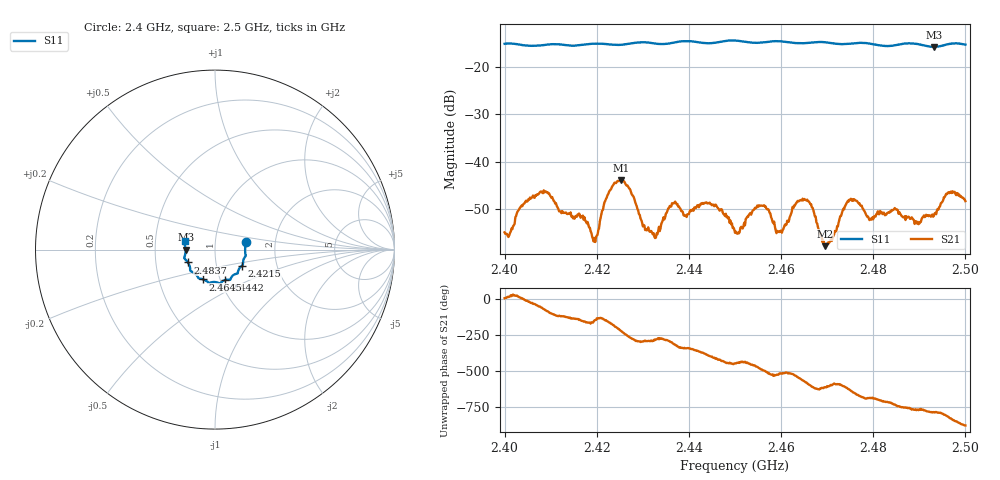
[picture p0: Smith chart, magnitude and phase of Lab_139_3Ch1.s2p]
# Hz S RI R 50
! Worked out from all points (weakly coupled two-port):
!   601 points, 2.4 GHz to 2.5 GHz, reference 50 ohm
!   highest |S21| = -43.92 dB at 2.4253 GHz (marker M1); lowest = -57.9 dB at 2.4695 GHz (marker M2)
!   lowest |S11| = -15.7 dB at 2.4932 GHz (marker M3), VSWR 1.39, Z = 35.9 - j0.0582 ohm
!   |S11| at or under -10 dB: start of sweep to end of sweep
!   S12 and S22 are empty: the file has one direction only
!   S11 on the Smith chart (normalised r, x): 2.4 GHz: 1.41, +0.12; 2.4215 GHz: 1.33, -0.25; 2.4442 GHz: 1.05, -0.37; 2.4645 GHz: 0.83, -0.29; 2.4837 GHz: 0.73, -0.11; 2.5 GHz: 0.71, +0.07
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2.4e9  0.1714 0.0402  0.00178 0.000168  0 0  0 0
2.408e9  0.1685 -0.0204  0.0024 -0.00418  0 0  0 0
2.416667e9  0.1567 -0.0698  -0.00234 -0.00125  0 0  0 0
2.419667e9  0.1548 -0.0858  -0.00118 -0.000767  0 0  0 0
2.4215e9  0.1512 -0.0898  -0.00271 -0.00208  0 0  0 0
2.425333e9  0.1328 -0.1095  -0.00459 0.00442  0 0  0 0
2.430333e9  0.1255 -0.1328  0.000838 0.00194  0 0  0 0
2.433333e9  0.1082 -0.1385  9.08e-05 0.00184  0 0  0 0
2.436667e9  0.0894 -0.1575  0.00241 0.00268  0 0  0 0
2.444167e9  0.0565 -0.1693  0.00304 -0.00194  0 0  0 0
2.45e9  0.0249 -0.1892  4.54e-05 -0.00176  0 0  0 0
2.455833e9  -0.0152 -0.1808  -0.00228 -0.00254  0 0  0 0
2.459833e9  -0.0353 -0.1839  -0.00171 -0.000701  0 0  0 0
2.4645e9  -0.0658 -0.166  -0.00356 0.00151  0 0  0 0
2.466667e9  -0.0827 -0.1621  -0.0011 0.00311  0 0  0 0
2.4695e9  -0.0928 -0.1578  -0.000348 0.00123  0 0  0 0
2.475e9  -0.123 -0.1266  0.000371 0.00396  0 0  0 0
2.483333e9  -0.1491 -0.075  0.0029 -7.3e-06  0 0  0 0
2.483667e9  -0.1512 -0.0716  0.00297 -0.000168  0 0  0 0
2.493167e9  -0.1635 -0.000788  0.00102 -0.00248  0 0  0 0
2.496333e9  -0.1721 0.0316  -0.000958 -0.00464  0 0  0 0
2.5e9  -0.1651 0.0504  -0.0036 -0.00125  0 0  0 0
